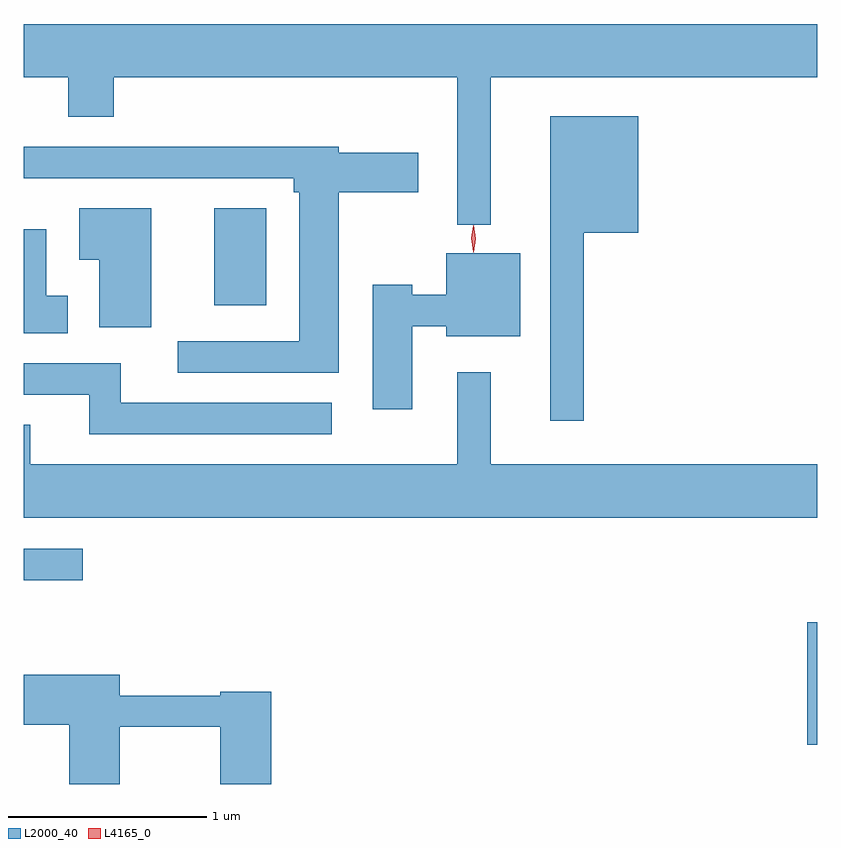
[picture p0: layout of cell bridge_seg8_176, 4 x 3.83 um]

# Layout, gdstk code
import gdstk
lib = gdstk.Library(unit=1e-6, precision=1e-09)
def R(c, l, rs):  # rectangles x0, y0, x1, y1
    for r in rs: c.add(gdstk.rectangle(r[:2], r[2:], *l))
def P(c, l, *ps):  # polygons
    for p in ps: c.add(gdstk.Polygon(p, *l))
L2000_40 = (2000, 40)
L4165_0 = (4165, 0)

bridge_seg8_176 = lib.new_cell('bridge_seg8_176')
R(bridge_seg8_176, L2000_40, [(1321.566,1928.511,1321.616,1929.129), (1317.616,1929.341,1317.913,1929.499), (1318.576,1930.726,1318.839,1931.214)])
P(bridge_seg8_176, L2000_40, [(1319.969,1931.876),(1321.616,1931.876),(1321.616,1932.144),(1317.616,1932.144),(1317.616,1931.876),(1317.841,1931.876),(1317.841,1931.676),(1318.069,1931.676),(1318.069,1931.876),(1319.801,1931.876),(1319.801,1931.133),(1319.969,1931.133)],
  [(1320.439,1931.091),(1320.714,1931.091),(1320.714,1931.679),(1320.271,1931.679),(1320.271,1930.143),(1320.439,1930.143)],
  [(1319.204,1931.296),(1319.604,1931.296),(1319.604,1931.494),(1319.204,1931.494),(1319.204,1931.524),(1317.616,1931.524),(1317.616,1931.366),(1318.976,1931.366),(1318.976,1931.296),(1319.006,1931.296),(1319.006,1930.544),(1318.393,1930.544),(1318.393,1930.386),(1319.204,1930.386)],
  [(1318.259,1931.214),(1317.896,1931.214),(1317.896,1930.956),(1317.996,1930.956),(1317.996,1930.616),(1318.259,1930.616)],
  [(1317.839,1930.774),(1317.729,1930.774),(1317.729,1931.109),(1317.616,1931.109),(1317.616,1930.586),(1317.839,1930.586)],
  [(1319.574,1930.621),(1319.746,1930.621),(1319.746,1930.571),(1320.119,1930.571),(1320.119,1930.989),(1319.746,1930.989),(1319.746,1930.779),(1319.574,1930.779),(1319.574,1930.829),(1319.376,1930.829),(1319.376,1930.201),(1319.574,1930.201)],
  [(1319.168,1930.234),(1318.104,1930.234),(1318.104,1930.434),(1317.616,1930.434),(1317.616,1930.276),(1317.946,1930.276),(1317.946,1930.076),(1319.168,1930.076)],
  [(1321.616,1929.924),(1319.969,1929.924),(1319.969,1930.388),(1319.801,1930.388),(1319.801,1929.924),(1317.649,1929.924),(1317.649,1930.124),(1317.616,1930.124),(1317.616,1929.656),(1321.616,1929.656)],
  [(1318.099,1928.601),(1318.606,1928.601),(1318.606,1928.313),(1318.864,1928.313),(1318.864,1928.779),(1318.606,1928.779),(1318.606,1928.759),(1318.099,1928.759),(1318.099,1928.864),(1317.616,1928.864),(1317.616,1928.611),(1317.846,1928.611),(1317.846,1928.313),(1318.099,1928.313)])
P(bridge_seg8_176, L4165_0, [(1319.883,1930.998),(1319.882,1930.999),(1319.873,1931.063),(1319.882,1931.127),(1319.883,1931.127),(1319.883,1931.127),(1319.893,1931.063),(1319.883,1930.999)],
  [(1319.883,1930.994),(1319.874,1931.062),(1319.884,1931.13),(1319.885,1931.13),(1319.885,1931.13),(1319.894,1931.062),(1319.884,1930.994),(1319.884,1930.994)])

lib.write_gds('bridge_seg8_176.gds')
